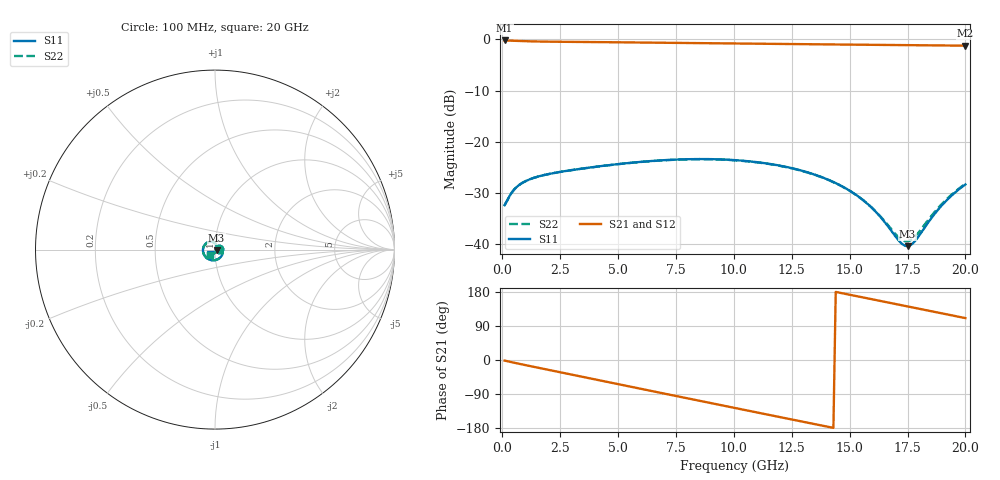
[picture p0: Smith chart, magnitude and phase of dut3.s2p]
! Touchstone file exported from HFSS 2026.1.0
!  File:  C:/ffzhzh/LocalFiles/Ansys_Project_Files/temp_test_TSV_RDL_3_1782978481_45748.aedt
!  Generated:  03:54:24 PM Jul  2, 2026
!  Design:  TSV_RDL
!  Project:  temp_test_TSV_RDL_3_1782978481_45748
! Variables:
!  h_bsmrdl = 2.32um
!  h_ox = 20um
!  h_rdl = 5um
!  h_sub = 51.18um
!  h_tmrdl = 2.16um
!  h_tsv = 51.18um
!  h_via = 3um
!  l_bsmrdl = 468.22um
!  l_sub = 4449.45um
!  l_tmrdl = 618.59um
!  m_sub = 200um
!  pitch = 31.37um
!  r_tsv = 8.57um
!  s_tmrdl = 10um
!  w_bsmrdl = 28.99um
!  w_sub = 500um
!  w_tmrdl = 27.82um
!  x_tsv_center1 = 632.5um
!  x_tsv_center2 = 1129.71um
!  x_tsv_center3 = 1776.12um
!  x_tsv_center4 = 2273.33um
!  x_tsv_center5 = 2919.74um
!  x_tsv_center6 = 3416.95um
# GHz S MA R 50.000000
! Terminal data exported
! Port[1] = TM_RDL1_1_T1
! Port[2] = TM_RDL5_1_T1
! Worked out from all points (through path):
!   200 points, 100 MHz to 20 GHz, reference 50 ohm
!   highest |S21| = -0.21 dB at 100 MHz (marker M1); lowest = -1.2 dB at 20 GHz (marker M2)
!   group delay of S21, straight-line fit = 34.5 ps
!   lowest |S11| = -40.4 dB at 17.5 GHz (marker M3), VSWR 1.02, Z = 50.9 - j0.407 ohm
!   |S11| at or under -10 dB: start of sweep to end of sweep
!   |S22| runs from -39.5 to -23.4 dB; largest |S21 - S12| = 2.6e-14
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0.1  0.02397 6.8  0.9763 -1.5  0.9763 -1.5  0.02397 6.8
! Gamma 0 0 0 0
! Port Impedance 50 0 50 0
0.5  0.03384 8.0  0.9673 -7.1  0.9673 -7.1  0.03384 8.0
1  0.04112 -5.7  0.9589 -13.5  0.9589 -13.5  0.04111 -5.7
2.2  0.0493 -37.9  0.9489 -28.6  0.9489 -28.6  0.04928 -37.9
3.5  0.05483 -68.4  0.943 -44.8  0.943 -44.8  0.05477 -68.4
5.2  0.0611 -103.5  0.9358 -66.2  0.9358 -66.2  0.06098 -103.6
6  0.0636 -118.8  0.9321 -76.2  0.9321 -76.2  0.06346 -118.9
6.8  0.06563 -133.5  0.9283 -86.2  0.9283 -86.2  0.06546 -133.6
7.6  0.06703 -147.7  0.9242 -96.2  0.9242 -96.2  0.06683 -147.9
8.4  0.06766 -161.5  0.9201 -106.2  0.9201 -106.2  0.06745 -161.7
10.1  0.06594 170.0  0.9113 -127.3  0.9113 -127.3  0.06569 169.6
11.8  0.05938 142.0  0.903 -148.3  0.903 -148.3  0.05912 141.5
13.4  0.04847 115.4  0.8958 -168.0  0.8958 -168.0  0.04824 114.5
14.4  0.03941 97.7  0.8916 179.6  0.8916 179.6  0.03924 96.4
15.3  0.03 79.9  0.888 168.5  0.888 168.5  0.02994 78.0
16  0.02214 62.6  0.8853 159.9  0.8853 159.9  0.02223 60.0
16.7  0.01445 36.7  0.8825 151.3  0.8825 151.3  0.01489 32.8
17.2  0.01034 3.6  0.8805 145.1  0.8805 145.1  0.0112 -0.2
17.5  0.009528 -24.8  0.8793 141.4  0.8793 141.4  0.01062 -26.6
17.8  0.01053 -53.2  0.8781 137.7  0.8781 137.7  0.01167 -52.4
19  0.02411 -111.8  0.8729 122.9  0.8729 122.9  0.02486 -109.6
20  0.03823 -134.7  0.8683 110.6  0.8683 110.6  0.03878 -133.1
